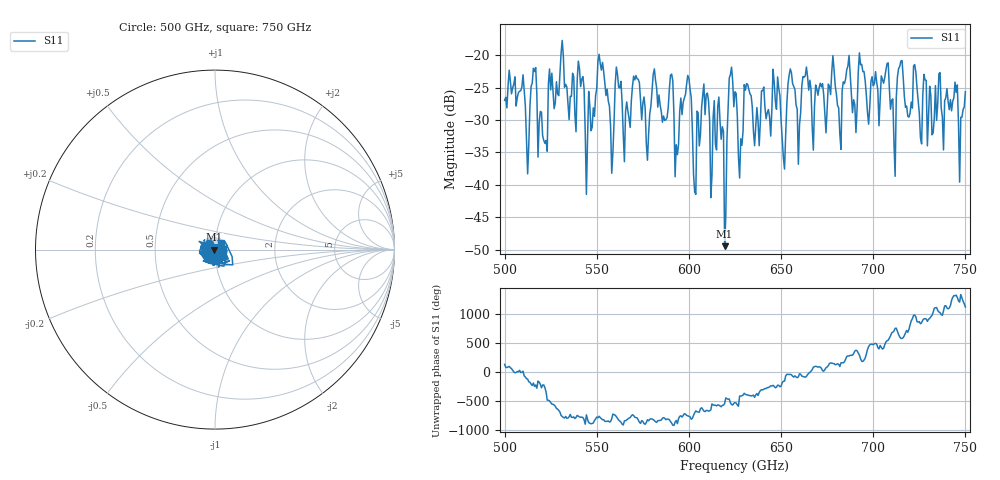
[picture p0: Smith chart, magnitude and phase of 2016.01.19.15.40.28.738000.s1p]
!Created with skrf (http://scikit-rf.org).
# GHz S RI R 50.0
!freq ReS11 ImS11
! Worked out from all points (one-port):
!   401 points, 500 GHz to 750 GHz, reference 50 ohm
!   lowest |S11| = -49.5 dB at 619.4 GHz (marker M1), VSWR 1.01, Z = 49.7 - j0.0105 ohm
!   |S11| at or under -10 dB: start of sweep to end of sweep
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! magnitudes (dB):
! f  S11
! 500 GHz  -26.9
! 512.5 GHz  -38.3
! 515.6 GHz  -22.0
! 521.9 GHz  -33.6
! 531.2 GHz  -17.7
! 545 GHz  -32.8
! 551.9 GHz  -21.2
! 558.1 GHz  -38.2
! 562.5 GHz  -25.0
! 577.5 GHz  -36.2
! 590 GHz  -23.1
! 593.8 GHz  -35.3
! 600 GHz  -23.6
! 602.5 GHz  -38.4
! 608.8 GHz  -29.2
! 619.4 GHz  -49.5
! 622.5 GHz  -23.0
! 625 GHz  -25.6
! 628.1 GHz  -32.9
! 631.2 GHz  -24.4
! 646.9 GHz  -27.0
! 651.2 GHz  -35.8
! 656.2 GHz  -24.4
! 659.4 GHz  -36.8
! 663.1 GHz  -23.2
! 687.5 GHz  -22.9
! 718.8 GHz  -29.4
! 750 GHz  -25.6
